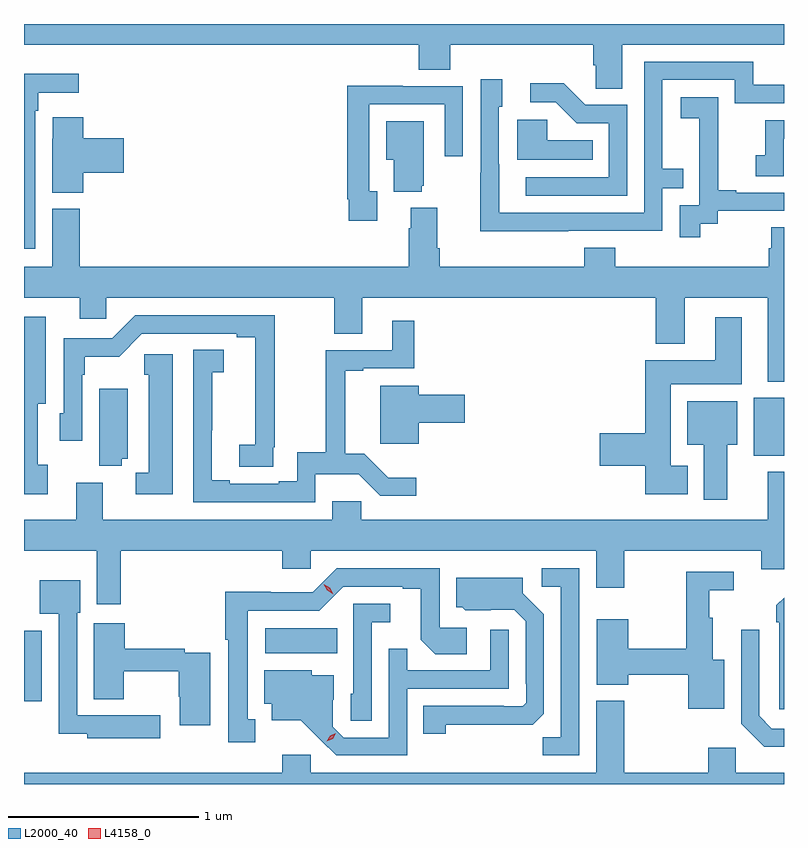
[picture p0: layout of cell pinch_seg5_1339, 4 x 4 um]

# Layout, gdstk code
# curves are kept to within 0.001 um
import gdstk
lib = gdstk.Library(unit=1e-6, precision=1e-09)
def R(c, l, rs):  # rectangles x0, y0, x1, y1
    for r in rs: c.add(gdstk.rectangle(r[:2], r[2:], *l))
def P(c, l, *ps):  # polygons
    for p in ps: c.add(gdstk.Polygon(p, *l))
L2000_40 = (2000, 40)
L4158_0 = (4158, 0)

pinch_seg5_1339 = lib.new_cell('pinch_seg5_1339')
R(pinch_seg5_1339, L2000_40, [(298.833,882.609,298.927,882.979), (300.102,882.86,300.482,882.994), (302.675,883.901,302.833,884.206)])
P(pinch_seg5_1339, L2000_40, [(301.981,886.064),(302.833,886.064),(302.833,886.173),(298.833,886.173),(298.833,886.064),(300.911,886.064),(300.911,885.931),(301.076,885.931),(301.076,886.064),(301.829,886.064),(301.829,885.955),(301.842,885.955),(301.842,885.832),(301.981,885.832)],
  [(301.697,885.084),(302.193,885.084),(302.193,885.309),(302.303,885.309),(302.303,885.41),(302.193,885.41),(302.193,885.879),(302.574,885.879),(302.574,885.756),(302.833,885.756),(302.833,885.852),(302.671,885.852),(302.671,885.975),(302.097,885.975),(302.097,885.18),(301.333,885.18),(301.333,885.434),(301.332,885.434),(301.332,885.738),(301.351,885.738),(301.351,885.883),(301.236,885.883),(301.236,885.389),(301.234,885.389),(301.234,885.083),(301.697,885.083)],
  [(298.893,885.716),(298.909,885.716),(298.909,885.812),(299.122,885.812),(299.122,885.91),(298.833,885.91),(298.833,884.99),(298.893,884.99)],
  [(302.007,885.747),(301.788,885.747),(301.675,885.86),(301.497,885.86),(301.497,885.762),(301.631,885.762),(301.742,885.651),(301.911,885.651),(301.911,885.366),(301.473,885.366),(301.473,885.27),(302.007,885.27)],
  [(300.691,885.294),(300.651,885.294),(300.651,885.75),(301.047,885.75),(301.047,885.477),(301.143,885.477),(301.143,885.846),(300.827,885.846),(300.827,885.848),(300.535,885.848),(300.535,885.25),(300.543,885.25),(300.543,885.138),(300.691,885.138)],
  [(302.392,885.121),(302.484,885.121),(302.484,885.189),(302.833,885.189),(302.833,885.285),(302.581,885.285),(302.581,885.298),(302.486,885.298),(302.486,885.581),(302.487,885.581),(302.487,885.787),(302.289,885.787),(302.289,885.677),(302.387,885.677),(302.387,885.449),(302.388,885.449),(302.388,885.219),(302.283,885.219),(302.283,885.051),(302.392,885.051)],
  [(299.144,885.389),(299.359,885.389),(299.359,885.572),(299.144,885.572),(299.144,885.682),(298.983,885.682),(298.983,885.569),(298.982,885.569),(298.982,885.286),(299.144,885.286)],
  [(301.826,885.562),(301.587,885.562),(301.587,885.67),(301.43,885.67),(301.43,885.458),(301.826,885.458)],
  [(302.832,885.57),(302.833,885.57),(302.833,885.666),(302.734,885.666),(302.734,885.481),(302.685,885.481),(302.685,885.372),(302.832,885.372)],
  [(300.926,885.321),(300.937,885.321),(300.937,885.661),(300.74,885.661),(300.74,885.458),(300.779,885.458),(300.779,885.29),(300.926,885.29)],
  [(302.833,885.104),(302.765,885.104),(302.765,884.994),(302.753,884.994),(302.753,884.896),(301.946,884.896),(301.946,884.995),(301.781,884.995),(301.781,884.896),(301.022,884.896),(301.022,884.992),(301.009,884.992),(301.009,885.205),(300.869,885.205),(300.869,885.098),(300.857,885.098),(300.857,884.896),(299.126,884.896),(299.126,885.201),(298.982,885.201),(298.982,884.896),(298.833,884.896),(298.833,884.732),(299.126,884.732),(299.126,884.622),(299.265,884.622),(299.265,884.732),(300.466,884.732),(300.466,884.542),(300.613,884.542),(300.613,884.732),(302.159,884.732),(302.159,884.489),(302.311,884.489),(302.311,884.732),(302.747,884.732),(302.747,884.291),(302.833,884.291)],
  [(300.146,883.945),(300.152,883.945),(300.152,884.64),(299.418,884.64),(299.298,884.52),(299.043,884.52),(299.043,884.124),(299.022,884.124),(299.022,883.98),(299.139,883.98),(299.139,884.327),(299.152,884.327),(299.152,884.423),(299.333,884.423),(299.454,884.544),(299.954,884.544),(299.954,884.524),(300.05,884.524),(300.049,883.958),(299.967,883.958),(299.967,883.843),(300.146,883.843)],
  [(298.957,883.854),(298.906,883.854),(298.906,884.174),(298.948,884.174),(298.948,884.632),(298.833,884.632),(298.833,883.698),(298.957,883.698)],
  [(302.326,883.849),(302.236,883.849),(302.236,884.276),(302.611,884.276),(302.611,884.629),(302.471,884.629),(302.471,884.404),(302.102,884.404),(302.102,884.018),(301.863,884.018),(301.863,883.847),(302.102,883.847),(302.102,883.697),(302.326,883.697)],
  [(300.366,883.802),(300.595,883.802),(300.708,883.689),(300.898,883.689),(300.898,883.786),(300.749,883.786),(300.623,883.912),(300.524,883.912),(300.524,884.349),(300.619,884.349),(300.619,884.361),(300.887,884.361),(300.887,884.611),(300.77,884.611),(300.77,884.457),(300.421,884.457),(300.421,883.919),(300.27,883.919),(300.27,883.766),(300.173,883.766),(300.173,883.752),(299.917,883.752),(299.917,883.772),(299.821,883.772),(299.821,884.035),(299.823,884.035),(299.823,884.339),(299.884,884.339),(299.884,884.459),(299.724,884.459),(299.724,883.656),(300.366,883.656)],
  [(299.617,884.434),(299.467,884.434),(299.467,884.328),(299.489,884.328),(299.489,883.812),(299.421,883.812),(299.421,883.697),(299.617,883.697)],
  [(300.91,884.075),(301.153,884.075),(301.153,884.222),(300.91,884.222),(300.91,884.269),(300.707,884.269),(300.707,883.964),(300.91,883.964)],
  [(299.348,883.886),(299.38,883.886),(299.38,884.254),(299.228,884.254),(299.228,883.849),(299.348,883.849)],
  [(302.533,883.958),(302.587,883.958),(302.587,884.188),(302.324,884.188),(302.324,883.958),(302.411,883.958),(302.411,883.668),(302.533,883.668)],
  [(299.342,883.4),(300.191,883.4),(300.191,883.307),(300.342,883.307),(300.342,883.4),(301.844,883.4),(301.844,883.206),(301.992,883.206),(301.992,883.4),(302.714,883.4),(302.714,883.302),(302.833,883.302),(302.833,883.816),(302.747,883.816),(302.747,883.564),(300.607,883.564),(300.607,883.662),(300.455,883.662),(300.455,883.564),(299.248,883.564),(299.248,883.759),(299.108,883.759),(299.108,883.564),(298.833,883.564),(298.833,883.4),(299.216,883.4),(299.216,883.119),(299.342,883.119)],
  [(300.049,882.513),(300.01,882.513),(300.01,883.086),(300.387,883.086),(300.513,883.212),(300.827,883.212),(300.827,883.2),(300.921,883.2),(300.921,882.932),(300.997,882.856),(301.162,882.856),(301.162,882.996),(301.02,882.996),(301.02,883.308),(300.48,883.308),(300.354,883.182),(300.132,883.182),(300.132,883.184),(299.892,883.184),(299.892,882.931),(299.909,882.931),(299.909,882.393),(300.049,882.393)],
  [(301.755,883.308),(301.557,883.308),(301.557,883.212),(301.659,883.212),(301.659,882.419),(301.564,882.419),(301.564,882.324),(301.755,882.324)],
  [(302.518,882.826),(302.458,882.826),(302.458,883.048),(302.44,883.048),(302.44,883.193),(302.569,883.193),(302.569,883.29),(302.319,883.29),(302.319,882.884),(302.014,882.884),(302.014,883.039),(301.847,883.039),(301.847,882.695),(302.014,882.695),(302.014,882.748),(302.33,882.748),(302.33,882.569),(302.518,882.569)],
  [(301.053,882.484),(301.51,882.485),(301.569,882.544),(301.569,883.066),(301.459,883.176),(301.459,883.258),(301.109,883.258),(301.109,883.104),(301.14,883.104),(301.156,883.088),(301.413,883.089),(301.473,883.029),(301.473,882.7),(301.476,882.7),(301.476,882.6),(301.458,882.582),(301.358,882.582),(301.358,882.585),(300.934,882.585),(300.934,882.438),(301.053,882.438)],
  [(299.551,882.535),(299.324,882.535),(299.324,882.534),(299.112,882.534),(299.112,883.074),(299.128,883.074),(299.128,883.246),(298.916,883.246),(298.916,883.07),(299.016,883.07),(299.016,882.437),(299.166,882.437),(299.166,882.413),(299.551,882.413)],
  [(302.833,883.153),(302.793,883.113),(302.793,883.025),(302.808,883.025),(302.808,882.567),(302.833,882.567)],
  [(300.663,883.025),(300.76,883.025),(300.76,883.122),(300.567,883.122),(300.567,882.648),(300.552,882.648),(300.552,882.505),(300.663,882.505)],
  [(299.812,882.864),(299.678,882.864),(299.678,882.884),(299.363,882.884),(299.363,883.018),(299.201,883.018),(299.201,882.62),(299.358,882.62),(299.358,882.766),(299.647,882.766),(299.647,882.631),(299.654,882.631),(299.654,882.483),(299.812,882.483)],
  [(302.833,882.465),(302.769,882.465),(302.703,882.531),(302.703,882.985),(302.607,882.985),(302.607,882.489),(302.728,882.368),(302.833,882.368)],
  [(300.849,882.675),(301.383,882.675),(301.383,882.985),(301.287,882.985),(301.287,882.771),(300.851,882.771),(300.851,882.884),(300.753,882.884),(300.753,882.417),(300.516,882.417),(300.459,882.474),(300.459,882.616),(300.463,882.616),(300.463,882.745),(300.348,882.745),(300.348,882.772),(300.098,882.772),(300.098,882.596),(300.137,882.596),(300.137,882.509),(300.289,882.509),(300.476,882.324),(300.849,882.324)],
  [(302.833,882.232),(302.58,882.232),(302.58,882.364),(302.434,882.364),(302.434,882.232),(301.992,882.232),(301.992,882.61),(301.844,882.61),(301.844,882.232),(300.342,882.232),(300.342,882.328),(300.191,882.328),(300.191,882.232),(298.833,882.232),(298.833,882.173),(302.833,882.173)])
P(pinch_seg5_1339, L4158_0, [(300.427,882.397),(300.427,882.397),(300.444,882.426),(300.475,882.441),(300.475,882.441),(300.475,882.441),(300.458,882.412),(300.427,882.397)],
  [(300.461,883.173),(300.429,883.192),(300.411,883.224),(300.411,883.225),(300.411,883.225),(300.443,883.206),(300.461,883.173),(300.461,883.173)])

lib.write_gds('pinch_seg5_1339.gds')
